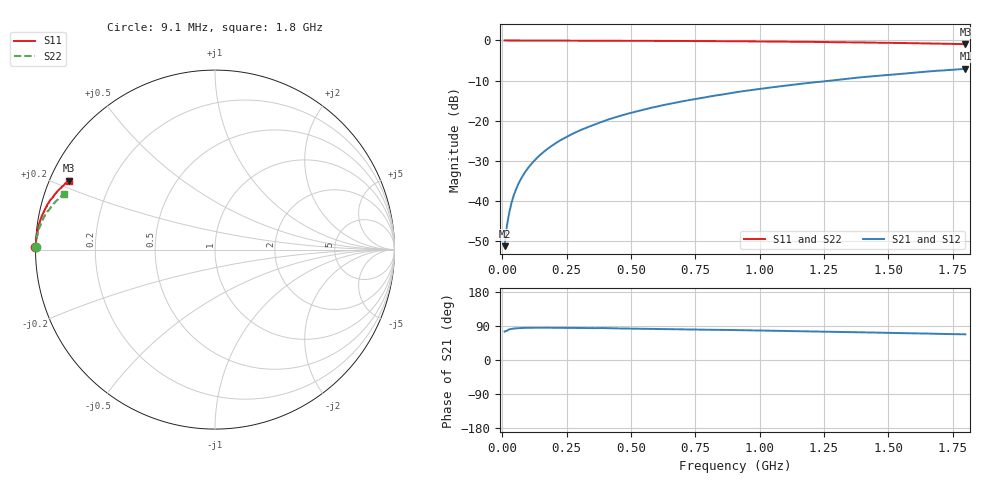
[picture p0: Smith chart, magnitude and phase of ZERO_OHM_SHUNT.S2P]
!Agilent Technologies,E5071C,MY46101151,A.11.02
!Date: Sun Sep 24 16:01:06 2017
!Data & Calibration Information:
!Freq	S11:SOLT2(ON)	S21:SOLT2(ON)	S12:SOLT2(ON)	S22:SOLT2(ON)
!PortZ  Port1:50+j0  Port2:50+j0
!Above PortZ is port z conversion or system Z0 setting when saving the data.
!When reading, reference impedance value at option line is always used.
# Hz S dB R 50
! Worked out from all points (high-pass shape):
!   200 points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, 9.1 MHz to 1.8 GHz, reference 50 ohm
!   highest |S21| = -7.06 dB at 1.8 GHz (marker M1); lowest = -51.3 dB at 9.1 MHz (marker M2)
!   |S21| within 3 dB of the highest: 1.27 GHz to end of sweep
!   lowest |S11| = -0.9 dB at 1.8 GHz (marker M3), VSWR 18.89, Z = 2.78 + j11.2 ohm
!   |S11| at or under -10 dB: nowhere
!   |S22| runs from -0.9 to 0.0 dB; largest |S21 - S12| = 0.0015
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9099500  0.00 179.1  -51.30 75.1  -51.54 66.0  -0.00 179.1
1.8099e7  0.00 179.2  -46.17 77.5  -46.26 76.7  0.00 179.3
2.70985e7  0.01 179.2  -42.93 80.9  -42.88 81.1  0.00 179.4
3.6098e7  0.00 179.1  -40.44 82.1  -40.43 81.7  0.00 179.3
4.50975e7  0.00 179.0  -38.55 83.1  -38.58 83.2  0.00 179.3
6.30965e7  0.01 178.9  -35.69 84.2  -35.70 83.9  0.00 179.1
7.2096e7  0.00 178.7  -34.60 84.5  -34.55 84.4  0.00 179.0
9.0095e7  0.00 178.5  -32.69 85.0  -32.69 84.9  -0.00 178.9
1.08094e8  -0.01 178.1  -31.18 85.1  -31.16 85.0  -0.02 178.6
1.350925e8  -0.01 177.8  -29.27 85.2  -29.26 85.1  -0.01 178.4
1.62091e8  -0.02 177.4  -27.72 85.1  -27.70 85.2  -0.02 178.2
1.890895e8  -0.02 177.1  -26.42 85.0  -26.39 85.1  -0.02 177.9
2.52086e8  -0.03 176.2  -23.96 84.7  -23.93 84.7  -0.02 177.3
3.150825e8  -0.03 175.4  -22.06 84.3  -22.05 84.2  -0.03 176.8
4.410755e8  -0.07 173.8  -19.14 83.5  -19.09 83.5  -0.06 175.6
5.22071e8  -0.07 172.7  -17.67 82.5  -17.67 82.5  -0.06 174.8
6.12066e8  -0.09 171.5  -16.33 81.6  -16.30 81.7  -0.09 174.0
7.02061e8  -0.11 170.3  -15.15 80.7  -15.13 80.7  -0.11 173.0
9.090495e8  -0.20 167.7  -12.92 78.9  -12.90 79.0  -0.21 171.0
1.206033e9  -0.35 163.8  -10.48 75.3  -10.46 75.4  -0.34 167.7
1.503016e9  -0.58 159.5  -8.59 71.6  -8.57 71.6  -0.59 164.1
1.8e9  -0.92 154.8  -7.06 67.8  -7.06 67.7  -0.93 160.0
